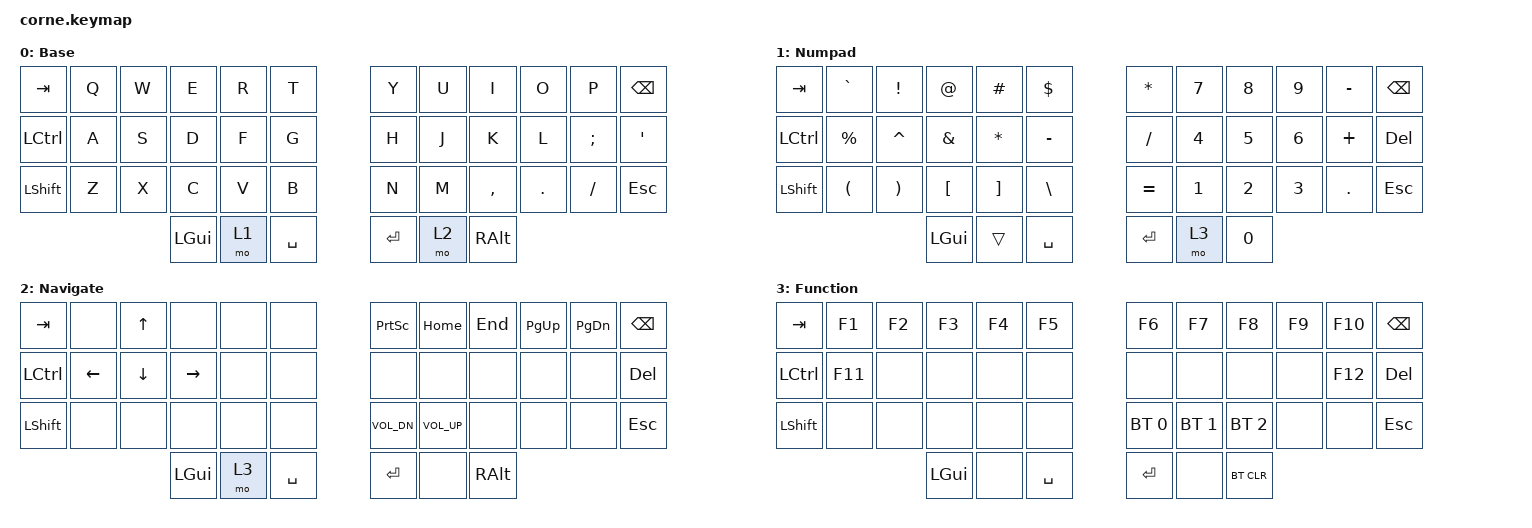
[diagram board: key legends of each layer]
/*
 * Copyright (c) 2020 The ZMK Contributors
 *
 * SPDX-License-Identifier: MIT
 */

#include <behaviors.dtsi>
#include <dt-bindings/zmk/bt.h>
#include <dt-bindings/zmk/keys.h>

/ {
    keymap {
        compatible = "zmk,keymap";

        default_layer {
            // -----------------------------------------------------------------------------------------
            // |  TAB |  Q  |  W  |  E  |  R  |  T  |   |  Y  |  U   |  I  |  O  |  P  | BKSP |
            // | CTRL |  A  |  S  |  D  |  F  |  G  |   |  H  |  J   |  K  |  L  |  ;  |  '   |
            // | SHFT |  Z  |  X  |  C  |  V  |  B  |   |  N  |  M   |  ,  |  .  |  /  | ESC  |
            //                    | GUI | LWR | SPC |   | ENT | RSE  | ALT |

            display-name = "Base";
            bindings = <
&kp TAB    &kp Q  &kp W  &kp E     &kp R  &kp T        &kp Y    &kp U  &kp I      &kp O    &kp P     &kp BSPC
&kp LCTRL  &kp A  &kp S  &kp D     &kp F  &kp G        &kp H    &kp J  &kp K      &kp L    &kp SEMI  &kp SQT
&kp LSHFT  &kp Z  &kp X  &kp C     &kp V  &kp B        &kp N    &kp M  &kp COMMA  &kp DOT  &kp FSLH  &kp ESC
                         &kp LGUI  &mo 1  &kp SPACE    &kp RET  &mo 2  &kp RALT
            >;
        };

        lower_layer {
            // -----------------------------------------------------------------------------------------
            // |  TAB |  ~  |  !  |  @  |  #  |  $  |   |  *  |  7  |  8  |  9  |  -  | BKSP |
            // | CTRL |  %  |  ^  |  &  |  *  |  -  |   |  /  |  4  |  5  |  6  |  +  | DEL  |
            // | SHFT |  (  |  )  |  [  |  ]  |  \  |   |  =  |  1  |  2  |  3  |  .  | ESC  |
            //                    | GUI | ___ | SPC |   | ENT | (3) |  0  |

            display-name = "Numpad";
            bindings = <
&kp TAB    &kp GRAVE  &kp EXCL   &kp AT    &kp HASH   &kp DLLR      &kp ASTRK  &kp N7  &kp N8  &kp N9  &kp MINUS  &kp BSPC
&kp LCTRL  &kp PRCNT  &kp CARET  &kp AMPS  &kp ASTRK  &kp MINUS     &kp FSLH   &kp N4  &kp N5  &kp N6  &kp PLUS   &kp DEL
&kp LSHFT  &kp LPAR   &kp RPAR   &kp LBKT  &kp RBKT   &kp BSLH      &kp EQUAL  &kp N1  &kp N2  &kp N3  &kp DOT    &kp ESC
                                 &kp LGUI  &trans     &kp SPACE     &kp RET    &mo 3    &kp N0
            >;
        };

        raise_layer {
            // -----------------------------------------------------------------------------------------
            // |  TAB |     | Up  |     |     |     |   | Prt | Hom | End | Pup | PDn | BKSP |
            // | CTRL |Left | Dn  |Rght |     |     |   |     |     |     |     |     | DEL  |
            // | SHFT |     |     |     |     |     |   |     |     |     |     |     | ESC  |
            //                    | GUI | (3) | SPC |   | ENT | ___ | ALT |

            display-name = "Navigate";
            bindings = <
&kp TAB    &none     &kp UP    &none      &none     &none           &kp PSCRN     &kp HOME      &kp END   &kp PG_UP  &kp PG_DN  &kp BSPC
&kp LCTRL  &kp LEFT  &kp DOWN  &kp RIGHT  &none     &none           &none         &none         &none     &none      &none      &kp DEL
&kp LSHFT  &none     &none     &none      &none     &none           &kp C_VOL_DN  &kp C_VOL_UP  &none     &none      &none      &kp ESC
                               &kp LGUI   &mo 3     &kp SPACE       &kp RET       &none         &kp RALT
            >;
        };

        both_layer {
            // -----------------------------------------------------------------------------------------
            // |  TAB | F1  | F2  | F3  | F4  | F5  |     | F6  | F7  | F8  | F9  | F10 | BKSP |
            // | CTRL | F11 |     |     |     |     |     |     |     |     |     | F12 | DEL  |
            // | SHFT |     |     |     |     |     |     |Vol+ |Vol- |     |     |     | ESC  |
            //                    | GUI | ___ | SPC |     | ENT | ___ | ALT |

            display-name = "Function";
            bindings = <
&kp TAB    &kp F1   &kp F2  &kp F3    &kp F4  &kp F5          &kp F6        &kp F7        &kp F8        &kp F9  &kp F10  &kp BSPC
&kp LCTRL  &kp F11  &none   &none     &none   &none           &none         &none         &none         &none   &kp F12  &kp DEL
&kp LSHFT  &none    &none   &none     &none   &none           &bt BT_SEL 0  &bt BT_SEL 1  &bt BT_SEL 2  &none   &none    &kp ESC
                            &kp LGUI  &none   &kp SPACE       &kp RET       &none         &bt BT_CLR
            >;
        };
    };
};
